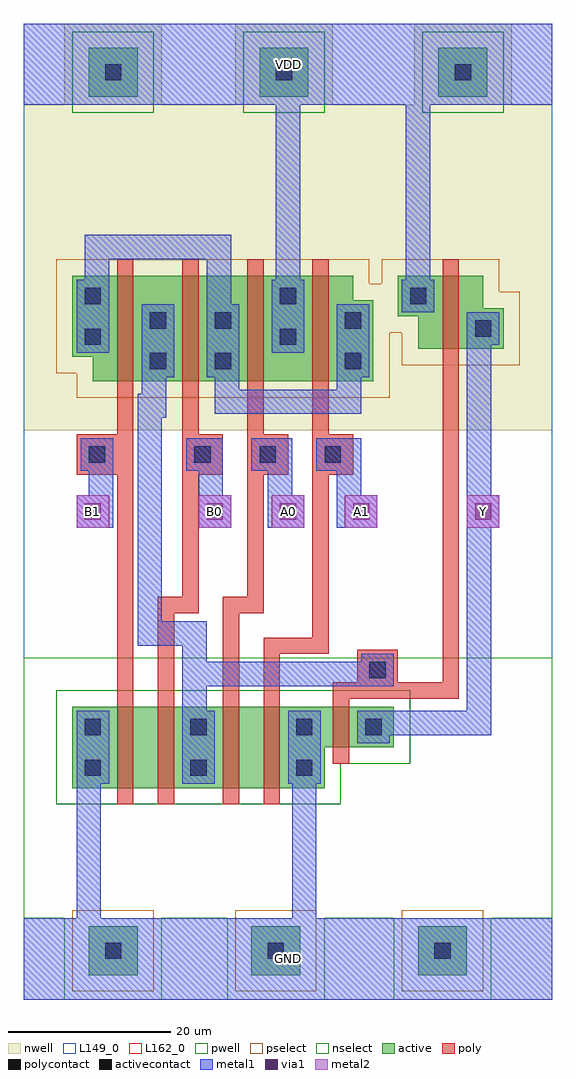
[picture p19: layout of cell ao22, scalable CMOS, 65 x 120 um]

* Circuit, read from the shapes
.subckt ao22 A0 A1 B0 B1 GND VDD Y
M1 n1 B1 GND GND nfet w=10u l=2u
M2 n2 B0 n1 GND nfet w=10u l=2u
M3 n3 A0 n2 GND nfet w=10u l=2u
M4 GND A1 n3 GND nfet w=10u l=2u
M5 Y n2 GND GND nfet w=5u l=2u
M6 n2 B1 n4 VDD pfet w=13u l=2u
M7 n4 B0 n2 VDD pfet w=13u l=2u
M8 VDD A0 n4 VDD pfet w=13u l=2u
M9 n4 A1 VDD VDD pfet w=13u l=2u
M10 Y n2 VDD VDD pfet w=9u l=2u
.ends

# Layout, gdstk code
from math import pi, radians
import gdstk
lib = gdstk.Library(unit=1e-6, precision=1e-09)
def R(c, l, rs):  # rectangles x0, y0, x1, y1
    for r in rs: c.add(gdstk.rectangle(r[:2], r[2:], *l))
def A(c, l, x, y, w, h, nx, ny, dx, dy):  # array of equal rectangles
    R(c, l, [(x+i*dx, y+j*dy, x+i*dx+w, y+j*dy+h) for i in range(nx) for j in range(ny)])
def P(c, l, *ps):  # polygons
    for p in ps: c.add(gdstk.Polygon(p, *l))
pwell = (41, 0)
nwell = (42, 0)
active = (43, 0)
pselect = (44, 0)
nselect = (45, 0)
poly = (46, 0)
polycontact = (47, 0)
activecontact = (48, 0)
metal1 = (49, 0)
via1 = (50, 0)
metal2 = (51, 0)
L149_0 = (149, 0)
L162_0 = (162, 0)

pwell_contact = lib.new_cell('pwell_contact')
R(pwell_contact, pwell, [(-6,-6,6,5)])
R(pwell_contact, active, [(-3,-3,3,3)])
R(pwell_contact, pselect, [(-5,-5,5,5)])
R(pwell_contact, activecontact, [(-1,-1,1,1)])

nwell_contact = lib.new_cell('nwell_contact')
R(nwell_contact, nwell, [(-6,-5,6,6)])
R(nwell_contact, active, [(-3,-3,3,3)])
R(nwell_contact, nselect, [(-5,-5,5,5)])
R(nwell_contact, activecontact, [(-1,-1,1,1)])

via = lib.new_cell('via')
R(via, metal1, [(-2,-2,2,2)])
R(via, via1, [(-1,-1,1,1)])
R(via, metal2, [(-2,-2,2,2)])

ao22 = lib.new_cell('ao22')
R(ao22, pwell, [(0,10,65,20), (0,10,65,42)])
P(ao22, pwell, [(0,20),(0,42),(51.5,42),(51.5,25),(43,25),(43,20)])
R(ao22, nwell, [(0,70,65,110), (0,95,65,110)])
P(ao22, nwell, [(49,70),(49,92),(46.5,92),(46.5,95),(0,95),(0,73),(2.5,73),(2.5,70)],
  [(42.5,74),(42.5,78),(40,78),(40,95),(62.5,95),(62.5,91),(65,91),(65,74)])
P(ao22, active, [(43,76),(43,86),(40.5,86),(40.5,89),(6,89),(6,79),(8.5,79),(8.5,76)],
  [(48.5,80),(48.5,84),(46,84),(46,89),(56.5,89),(56.5,85),(59,85),(59,80)],
  [(6,26),(6,36),(45.5,36),(45.5,31),(37,31),(37,26)])
P(ao22, pselect, [(45,74),(45,88),(42.5,88),(42.5,91),(4,91),(4,77),(6.5,77),(6.5,74)],
  [(46.5,78),(46.5,82),(44,82),(44,91),(58.5,91),(58.5,87),(61,87),(61,78)])
P(ao22, nselect, [(4,24),(4,38),(47.5,38),(47.5,29),(39,29),(39,24)])
A(ao22, poly, 19.5, 64.5, 5, 5, 3, 1, 8, 0)
A(ao22, poly, 11.5, 74, 2, 2, 4, 2, 8, 15)
A(ao22, poly, 11.5, 76, 2, 13, 4, 1, 8, 0)
R(ao22, poly, [(11.5,24,13.5,26), (16.5,24,18.5,26), (24.5,24,26.5,26), (29.5,24,31.5,26), (11.5,26,13.5,36), (16.5,26,18.5,36), (24.5,26,26.5,36), (29.5,26,31.5,36), (38,29,40,31), (38,31,40,36), (11.5,36,13.5,38), (16.5,36,18.5,38), (24.5,36,26.5,38), (29.5,36,31.5,38), (38,36,40,38), (41,38,46,43), (6.5,64.5,11.5,69.5), (51.5,78,53.5,80), (51.5,80,53.5,89), (51.5,89,53.5,91)])
A(ao22, polycontact, 21, 66, 2, 2, 3, 1, 8, 0)
R(ao22, polycontact, [(42.5,39.5,44.5,41.5), (8,66,10,68)])
A(ao22, activecontact, 7.5, 27.5, 2, 2, 3, 2, 13, 5)
R(ao22, activecontact, [(42,32.5,44,34.5), (15.5,77.5,17.5,79.5), (23.5,77.5,25.5,79.5), (39.5,77.5,41.5,79.5), (7.5,80.5,9.5,82.5), (31.5,80.5,33.5,82.5), (55.5,81.5,57.5,83.5), (15.5,82.5,17.5,84.5), (23.5,82.5,25.5,84.5), (39.5,82.5,41.5,84.5), (7.5,85.5,9.5,87.5), (31.5,85.5,33.5,87.5), (47.5,85.5,49.5,87.5)])
A(ao22, metal1, 6.5, 26.5, 4, 9, 3, 1, 13, 0)
A(ao22, metal1, 20, 65, 4, 4, 3, 1, 8, 0)
R(ao22, metal1, [(0,0,65,10), (0,0,65,10), (41,31.5,45,35.5), (41.5,38.5,45.5,42.5), (7,65,11,69), (14.5,76.5,18.5,85.5), (22.5,76.5,26.5,85.5), (38.5,76.5,42.5,85.5), (6.5,79.5,10.5,88.5), (30.5,79.5,34.5,88.5), (54.5,80.5,58.5,84.5), (46.5,84.5,50.5,88.5), (0,110,65,120), (0,110,65,120)])
A(ao22, metal2, 21.5, 58, 4, 4, 3, 1, 9, 0)
R(ao22, metal2, [(6.5,58,10.5,62), (54.5,58,58.5,62)])
A(ao22, L149_0, 20, 65, 4, 4, 3, 1, 8, 0)
R(ao22, L149_0, [(0,0,65,10), (0,0,65,120), (41.5,38.5,45.5,42.5), (7,65,11,69), (0,110,65,120)])
A(ao22, L162_0, 21.5, 58, 4, 4, 3, 1, 9, 0)
R(ao22, L162_0, [(6.5,58,10.5,62), (54.5,58,58.5,62)])
ao22.add(gdstk.FlexPath([(32.5,88.5),(32.5,110)], 3, ends="flush", simple_path=True, layer=149, datatype=0))  # L149_0
ao22.add(gdstk.FlexPath([(48.5,88.5),(48.5,110)], 3, ends="flush", simple_path=True, layer=149, datatype=0))  # L149_0
ao22.add(gdstk.FlexPath([(25,76.5),(25,73.5),(40,73.5),(40,76.5)], 3, ends="flush", simple_path=True, layer=149, datatype=0))  # L149_0
ao22.add(gdstk.FlexPath([(21,35.5),(21,45),(15.5,45),(15.5,73),(16,73),(16,76.5)], 3, ends="flush", simple_path=True, layer=149, datatype=0))  # L149_0
ao22.add(gdstk.FlexPath([(34.5,26.5),(34.5,10)], 3, ends="flush", simple_path=True, layer=149, datatype=0))  # L149_0
ao22.add(gdstk.FlexPath([(8,26.5),(8,10)], 3, ends="flush", simple_path=True, layer=149, datatype=0))  # L149_0
ao22.add(gdstk.FlexPath([(41.5,40),(22.5,40)], 3, ends="flush", simple_path=True, layer=149, datatype=0))  # L149_0
ao22.add(gdstk.FlexPath([(40,58),(40,69)], 3, ends="flush", simple_path=True, layer=149, datatype=0))  # L149_0
ao22.add(gdstk.FlexPath([(9.5,58),(9.5,69)], 3, ends="flush", simple_path=True, layer=149, datatype=0))  # L149_0
ao22.add(gdstk.FlexPath([(31.5,58),(31.5,69)], 3, ends="flush", simple_path=True, layer=149, datatype=0))  # L149_0
ao22.add(gdstk.FlexPath([(23,58),(23,69)], 3, ends="flush", simple_path=True, layer=149, datatype=0))  # L149_0
ao22.add(gdstk.FlexPath([(9,88.5),(9,92.5),(24,92.5),(24,85.5)], 3, ends="flush", simple_path=True, layer=149, datatype=0))  # L149_0
ao22.add(gdstk.FlexPath([(56,80.5),(56,34),(45,34)], 3, ends="flush", simple_path=True, layer=149, datatype=0))  # L149_0
ao22.add(gdstk.FlexPath([(12.5,74),(12.5,38)], 2, ends="flush", simple_path=True, layer=46, datatype=0))  # poly
ao22.add(gdstk.FlexPath([(36.5,74),(36.5,43.5),(30.5,43.5),(30.5,38)], 2, ends="flush", simple_path=True, layer=46, datatype=0))  # poly
ao22.add(gdstk.FlexPath([(52.5,78),(52.5,38),(38,38)], 2, ends="flush", simple_path=True, layer=46, datatype=0))  # poly
ao22.add(gdstk.FlexPath([(28.5,74),(28.5,48.5),(25.5,48.5),(25.5,38)], 2, ends="flush", simple_path=True, layer=46, datatype=0))  # poly
ao22.add(gdstk.FlexPath([(20.5,74),(20.5,48.5),(17.5,48.5),(17.5,38)], 2, ends="flush", simple_path=True, layer=46, datatype=0))  # poly
ao22.add(gdstk.FlexPath([(32.5,88.5),(32.5,110)], 3, ends="flush", simple_path=True, layer=49, datatype=0))  # metal1
ao22.add(gdstk.FlexPath([(48.5,88.5),(48.5,110)], 3, ends="flush", simple_path=True, layer=49, datatype=0))  # metal1
ao22.add(gdstk.FlexPath([(25,76.5),(25,73.5),(40,73.5),(40,76.5)], 3, ends="flush", simple_path=True, layer=49, datatype=0))  # metal1
ao22.add(gdstk.FlexPath([(21,35.5),(21,45),(15.5,45),(15.5,73),(16,73),(16,76.5)], 3, ends="flush", simple_path=True, layer=49, datatype=0))  # metal1
ao22.add(gdstk.FlexPath([(34.5,26.5),(34.5,10)], 3, ends="flush", simple_path=True, layer=49, datatype=0))  # metal1
ao22.add(gdstk.FlexPath([(8,26.5),(8,10)], 3, ends="flush", simple_path=True, layer=49, datatype=0))  # metal1
ao22.add(gdstk.FlexPath([(41.5,40),(22.5,40)], 3, ends="flush", simple_path=True, layer=49, datatype=0))  # metal1
ao22.add(gdstk.FlexPath([(40,58),(40,69)], 3, ends="flush", simple_path=True, layer=49, datatype=0))  # metal1
ao22.add(gdstk.FlexPath([(9.5,58),(9.5,69)], 3, ends="flush", simple_path=True, layer=49, datatype=0))  # metal1
ao22.add(gdstk.FlexPath([(31.5,58),(31.5,69)], 3, ends="flush", simple_path=True, layer=49, datatype=0))  # metal1
ao22.add(gdstk.FlexPath([(23,58),(23,69)], 3, ends="flush", simple_path=True, layer=49, datatype=0))  # metal1
ao22.add(gdstk.FlexPath([(9,88.5),(9,92.5),(24,92.5),(24,85.5)], 3, ends="flush", simple_path=True, layer=49, datatype=0))  # metal1
ao22.add(gdstk.FlexPath([(56,80.5),(56,34),(45,34)], 3, ends="flush", simple_path=True, layer=49, datatype=0))  # metal1
ao22.add(gdstk.Reference(pwell_contact, (31,6), rotation=pi, x_reflection=True))
ao22.add(gdstk.Reference(pwell_contact, (51.5,6), rotation=pi, x_reflection=True))
ao22.add(gdstk.Reference(pwell_contact, (11,6)))
ao22.add(gdstk.Reference(nwell_contact, (32,114), rotation=pi, x_reflection=True))
ao22.add(gdstk.Reference(nwell_contact, (54,114), rotation=pi, x_reflection=True))
ao22.add(gdstk.Reference(nwell_contact, (11,114)))
ao22.add(gdstk.Reference(via, (23.5,60)))
ao22.add(gdstk.Reference(via, (8.5,60)))
ao22.add(gdstk.Reference(via, (56.5,60)))
ao22.add(gdstk.Reference(via, (32.5,60)))
ao22.add(gdstk.Reference(via, (41.5,60)))
ao22.add(gdstk.Label('A1', (41.5,60), layer=3, texttype=0))
ao22.add(gdstk.Label('Y', (56.5,60), layer=3, texttype=0))
ao22.add(gdstk.Label('B1', (8.5,60), layer=3, texttype=0))
ao22.add(gdstk.Label('A0', (32.5,60), layer=3, texttype=0))
ao22.add(gdstk.Label('B0', (23.5,60), layer=3, texttype=0))
ao22.add(gdstk.Label('GND', (32.5,5), layer=2, texttype=0))
ao22.add(gdstk.Label('VDD', (32.5,115), layer=2, texttype=0))

lib.write_gds('ao22.gds')
